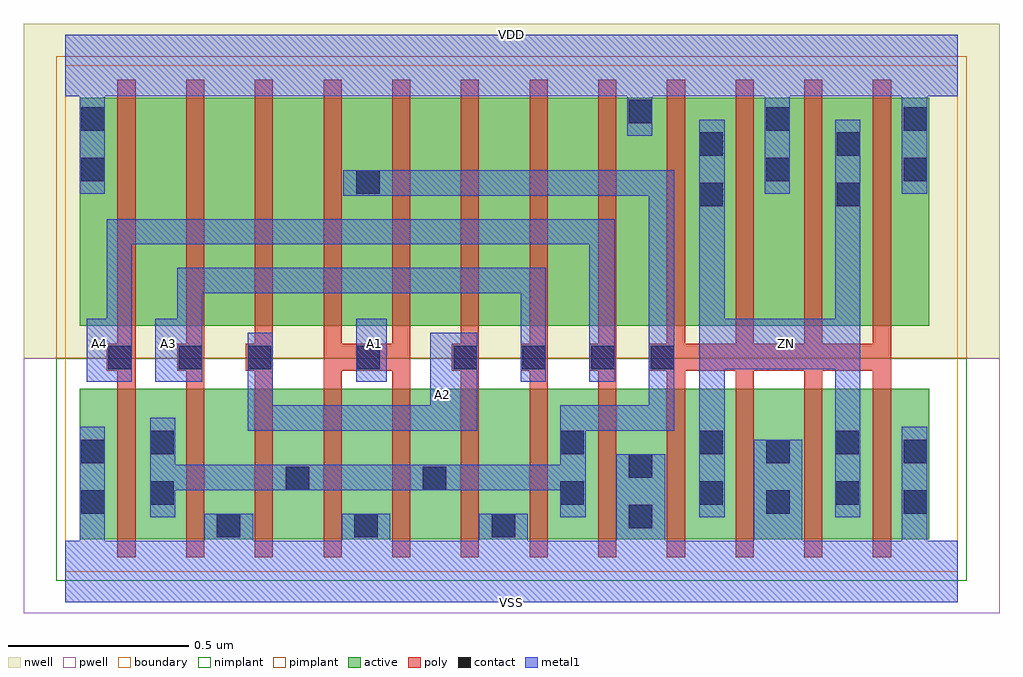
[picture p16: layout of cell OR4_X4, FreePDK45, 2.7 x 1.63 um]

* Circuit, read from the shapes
.subckt OR4_X4 A1 A2 A3 A4 VDD VSS ZN
M1 n1 A4 VSS VSUBS nfet w=0.415u l=0.05u m=2
M2 VSS A3 n1 VSUBS nfet w=0.415u l=0.05u m=2
M3 n1 A2 VSS VSUBS nfet w=0.415u l=0.05u m=2
M4 VSS A1 n1 VSUBS nfet w=0.415u l=0.05u m=2
M5 ZN n1 VSS VSUBS nfet w=0.415u l=0.05u m=4
M6 n2 A4 VDD n3 pfet w=0.63u l=0.05u
M7 n4 A3 n2 n3 pfet w=0.63u l=0.05u
M8 n5 A2 n4 n3 pfet w=0.63u l=0.05u
M9 n1 A1 n5 n3 pfet w=0.63u l=0.05u
M10 n6 A1 n1 n3 pfet w=0.63u l=0.05u
M11 n7 A2 n6 n3 pfet w=0.63u l=0.05u
M12 n8 A3 n7 n3 pfet w=0.63u l=0.05u
M13 VDD A4 n8 n3 pfet w=0.63u l=0.05u
M14 ZN n1 VDD n3 pfet w=0.63u l=0.05u m=4
.ends

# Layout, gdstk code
import gdstk
lib = gdstk.Library(unit=1e-6, precision=5e-10)
def R(c, l, rs):  # rectangles x0, y0, x1, y1
    for r in rs: c.add(gdstk.rectangle(r[:2], r[2:], *l))
def A(c, l, x, y, w, h, nx, ny, dx, dy):  # array of equal rectangles
    R(c, l, [(x+i*dx, y+j*dy, x+i*dx+w, y+j*dy+h) for i in range(nx) for j in range(ny)])
def P(c, l, *ps):  # polygons
    for p in ps: c.add(gdstk.Polygon(p, *l))
active = (1, 0)
pwell = (2, 0)
nwell = (3, 0)
nimplant = (4, 0)
pimplant = (5, 0)
poly = (9, 0)
contact = (10, 0)
metal1 = (11, 0)
boundary = (235, 0)

or4_x4 = lib.new_cell('OR4_X4')
R(or4_x4, active, [(0.04,0.09,2.39,0.505), (0.04,0.68,2.39,1.31)])
R(or4_x4, pwell, [(-0.115,-0.115,2.585,0.59)])
R(or4_x4, nwell, [(-0.115,0.59,2.585,1.515)])
R(or4_x4, nimplant, [(-0.025,-0.025,2.495,0.59)])
R(or4_x4, pimplant, [(-0.025,0.59,2.495,1.425)])
P(or4_x4, poly, [(1.615,0.555),(1.665,0.555),(1.665,0.04),(1.715,0.04),(1.715,0.555),(1.855,0.555),(1.855,0.04),(1.905,0.04),(1.905,0.555),(2.045,0.555),(2.045,0.04),(2.095,0.04),(2.095,0.555),(2.235,0.555),(2.235,0.04),(2.285,0.04),(2.285,1.36),(2.235,1.36),(2.235,0.63),(2.095,0.63),(2.095,1.36),(2.045,1.36),(2.045,0.63),(1.905,0.63),(1.905,1.36),(1.855,1.36),(1.855,0.63),(1.715,0.63),(1.715,1.36),(1.665,1.36),(1.665,0.63),(1.615,0.63)],
  [(1.45,0.555),(1.475,0.555),(1.475,0.04),(1.525,0.04),(1.525,1.36),(1.475,1.36),(1.475,0.63),(1.45,0.63)],
  [(1.26,0.555),(1.285,0.555),(1.285,0.04),(1.335,0.04),(1.335,1.36),(1.285,1.36),(1.285,0.63),(1.26,0.63)],
  [(1.07,0.555),(1.095,0.555),(1.095,0.04),(1.145,0.04),(1.145,1.36),(1.095,1.36),(1.095,0.63),(1.07,0.63)],
  [(0.715,0.04),(0.765,0.04),(0.765,0.555),(0.905,0.555),(0.905,0.04),(0.955,0.04),(0.955,1.36),(0.905,1.36),(0.905,0.63),(0.765,0.63),(0.765,1.36),(0.715,1.36)],
  [(0.5,0.555),(0.525,0.555),(0.525,0.04),(0.575,0.04),(0.575,1.36),(0.525,1.36),(0.525,0.63),(0.5,0.63)],
  [(0.31,0.555),(0.335,0.555),(0.335,0.04),(0.385,0.04),(0.385,1.36),(0.335,1.36),(0.335,0.63),(0.31,0.63)],
  [(0.115,0.555),(0.145,0.555),(0.145,0.04),(0.195,0.04),(0.195,1.36),(0.145,1.36),(0.145,0.63),(0.115,0.63)])
A(or4_x4, contact, 0.42, 0.095, 0.065, 0.065, 3, 1, 0.38, 0)
A(or4_x4, contact, 1.075, 0.56, 0.065, 0.065, 3, 1, 0.19, 0)
R(or4_x4, contact, [(1.56,0.12,1.625,0.185), (0.045,0.16,0.11,0.225), (1.94,0.16,2.005,0.225), (2.32,0.16,2.385,0.225), (0.235,0.185,0.3,0.25), (1.37,0.185,1.435,0.25), (1.755,0.185,1.82,0.25), (2.13,0.185,2.195,0.25), (0.61,0.225,0.675,0.29), (0.99,0.225,1.055,0.29), (1.56,0.26,1.625,0.325), (0.045,0.3,0.11,0.365), (1.94,0.3,2.005,0.365), (2.32,0.3,2.385,0.365), (0.235,0.325,0.3,0.39), (1.37,0.325,1.435,0.39), (1.755,0.325,1.82,0.39), (2.13,0.325,2.195,0.39), (0.12,0.56,0.185,0.625), (0.315,0.56,0.38,0.625), (0.505,0.56,0.57,0.625), (0.805,0.56,0.87,0.625), (1.62,0.56,1.685,0.625), (1.755,1.01,1.82,1.075), (2.135,1.01,2.2,1.075), (0.805,1.045,0.87,1.11), (0.045,1.08,0.11,1.145), (1.94,1.08,2.005,1.145), (2.32,1.08,2.385,1.145), (1.755,1.15,1.82,1.215), (2.135,1.15,2.2,1.215), (0.045,1.22,0.11,1.285), (1.94,1.22,2.005,1.285), (2.32,1.22,2.385,1.285), (1.56,1.24,1.625,1.305)])
R(or4_x4, metal1, [(0.805,0.525,0.89,0.7), (0.805,0.525,0.89,0.7)])
P(or4_x4, metal1, [(0,-0.085),(2.47,-0.085),(2.47,0.085),(2.385,0.085),(2.385,0.4),(2.315,0.4),(2.315,0.085),(2.04,0.085),(2.04,0.365),(1.905,0.365),(1.905,0.085),(1.66,0.085),(1.66,0.325),(1.525,0.325),(1.525,0.085),(1.28,0.085),(1.28,0.16),(1.145,0.16),(1.145,0.085),(0.9,0.085),(0.9,0.16),(0.765,0.16),(0.765,0.085),(0.52,0.085),(0.52,0.16),(0.385,0.16),(0.385,0.085),(0.11,0.085),(0.11,0.4),(0.04,0.4),(0.04,0.085),(0,0.085)],
  [(0,1.315),(0.04,1.315),(0.04,1.045),(0.11,1.045),(0.11,1.315),(1.555,1.315),(1.555,1.205),(1.625,1.205),(1.625,1.315),(1.935,1.315),(1.935,1.045),(2.005,1.045),(2.005,1.315),(2.315,1.315),(2.315,1.045),(2.385,1.045),(2.385,1.315),(2.47,1.315),(2.47,1.485),(0,1.485)],
  [(1.755,0.15),(1.825,0.15),(1.825,0.56),(2.13,0.56),(2.13,0.15),(2.2,0.15),(2.2,1.25),(2.13,1.25),(2.13,0.7),(1.825,0.7),(1.825,1.25),(1.755,1.25)],
  [(0.06,0.525),(0.185,0.525),(0.185,0.905),(1.45,0.905),(1.45,0.525),(1.52,0.525),(1.52,0.975),(0.115,0.975),(0.115,0.7),(0.06,0.7)],
  [(0.25,0.525),(0.38,0.525),(0.38,0.77),(1.26,0.77),(1.26,0.525),(1.33,0.525),(1.33,0.84),(0.31,0.84),(0.31,0.7),(0.25,0.7)],
  [(0.505,0.39),(1.14,0.39),(1.14,0.66),(1.01,0.66),(1.01,0.46),(0.575,0.46),(0.575,0.66),(0.505,0.66)],
  [(0,1.315),(0.04,1.315),(0.04,1.045),(0.11,1.045),(0.11,1.315),(1.555,1.315),(1.555,1.205),(1.625,1.205),(1.625,1.315),(1.935,1.315),(1.935,1.045),(2.005,1.045),(2.005,1.315),(2.315,1.315),(2.315,1.045),(2.385,1.045),(2.385,1.315),(2.47,1.315),(2.47,1.485),(0,1.485)],
  [(0,-0.085),(2.47,-0.085),(2.47,0.085),(2.385,0.085),(2.385,0.4),(2.315,0.4),(2.315,0.085),(2.04,0.085),(2.04,0.365),(1.905,0.365),(1.905,0.085),(1.66,0.085),(1.66,0.325),(1.525,0.325),(1.525,0.085),(1.28,0.085),(1.28,0.16),(1.145,0.16),(1.145,0.085),(0.9,0.085),(0.9,0.16),(0.765,0.16),(0.765,0.085),(0.52,0.085),(0.52,0.16),(0.385,0.16),(0.385,0.085),(0.11,0.085),(0.11,0.4),(0.04,0.4),(0.04,0.085),(0,0.085)],
  [(1.755,0.15),(1.825,0.15),(1.825,0.56),(2.13,0.56),(2.13,0.15),(2.2,0.15),(2.2,1.25),(2.13,1.25),(2.13,0.7),(1.825,0.7),(1.825,1.25),(1.755,1.25)],
  [(0.77,1.04),(1.615,1.04),(1.615,0.46),(1.37,0.46),(1.37,0.295),(0.305,0.295),(0.305,0.425),(0.235,0.425),(0.235,0.15),(0.305,0.15),(0.305,0.225),(1.37,0.225),(1.37,0.15),(1.44,0.15),(1.44,0.39),(1.685,0.39),(1.685,1.11),(0.77,1.11)],
  [(0.06,0.525),(0.185,0.525),(0.185,0.905),(1.45,0.905),(1.45,0.525),(1.52,0.525),(1.52,0.975),(0.115,0.975),(0.115,0.7),(0.06,0.7)],
  [(0.25,0.525),(0.38,0.525),(0.38,0.77),(1.26,0.77),(1.26,0.525),(1.33,0.525),(1.33,0.84),(0.31,0.84),(0.31,0.7),(0.25,0.7)],
  [(0.505,0.39),(1.14,0.39),(1.14,0.66),(1.01,0.66),(1.01,0.46),(0.575,0.46),(0.575,0.66),(0.505,0.66)])
R(or4_x4, boundary, [(0,0,2.47,1.4)])
or4_x4.add(gdstk.Label('ZN', (1.995,0.63), layer=11, texttype=0))
or4_x4.add(gdstk.Label('VSS', (1.235,-0.085), layer=11, texttype=0))
or4_x4.add(gdstk.Label('VDD', (1.235,1.485), layer=11, texttype=0))
or4_x4.add(gdstk.Label('A4', (0.095,0.63), layer=11, texttype=0))
or4_x4.add(gdstk.Label('A3', (0.285,0.63), layer=11, texttype=0))
or4_x4.add(gdstk.Label('A2', (1.045,0.49), layer=11, texttype=0))
or4_x4.add(gdstk.Label('A1', (0.855,0.63), layer=11, texttype=0))

lib.write_gds('OR4_X4.gds')
